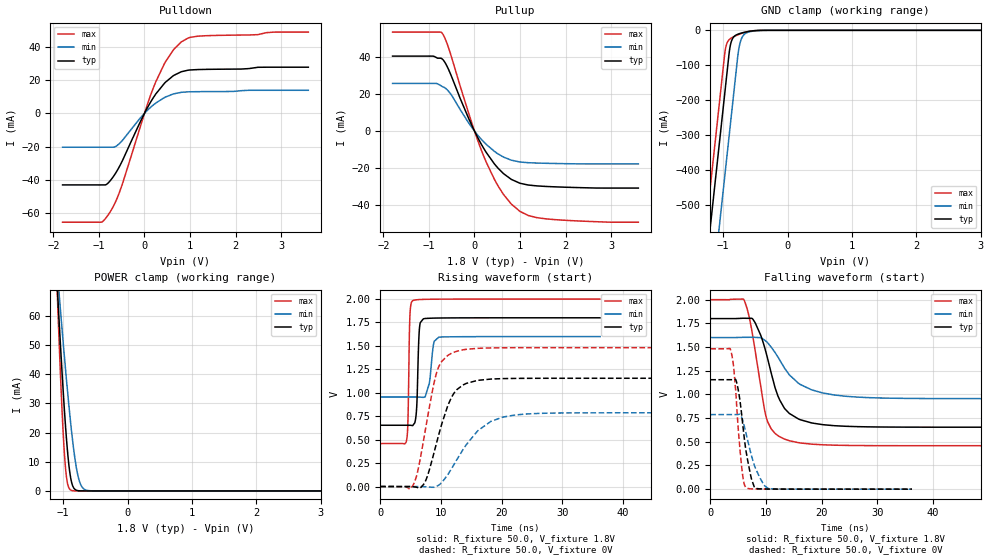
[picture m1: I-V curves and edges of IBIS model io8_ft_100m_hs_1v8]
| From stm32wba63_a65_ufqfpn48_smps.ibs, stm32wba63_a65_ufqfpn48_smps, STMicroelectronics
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[Model]   io8_ft_100m_hs_1v8
Model_type I/O
Polarity   Non-Inverting
Enable   Active-Low
| CAP_THRESHOLD on pad IOFT is "UDTCAPC" :
| Rising=30.0% of vddiom   Falling=70.0% of vddiom
| C_comp min and max val. don't necessarily correlate with the min and max pvt
| but are the smallest and greatest pad capacitance found.
| var   typ   min   max
C_comp   3.36302pF  3.33592pF  3.49657pF
|C_comp_pullup   1.98114pF  1.87541pF  2.12899pF
|C_comp_pulldown   1.38187pF  1.46051pF  1.36757pF
Vinl = 800.0mV
Vinh = 1.0V
Vmeas = 900.0mV   | Reference voltage for timing measurements
Cref  = 50.0pF   | Timing specification test load capacitance value
Rref  = 1.0MOhm   | Timing specification test load resistance value
Vref  = 990.0mV   | Timing specification test load voltage
[Model Spec]
| TIME_THRESHOLD on pin ZIV11 is "CMOS" :
| Rising=50.0% of vdd   Falling=50.0% of vdd
Vinl 702.50000mV 626.50000mV 788.50000mV
Vinh 1.09050V 959.50000mV 1.19650V
| variable   typ   min   max
[Temperature Range] 25.0 140.0 -40.0
| variable   typ   min   max
[Voltage Range] 1.8V 1.6V 2.0V
| variable   typ   min   max
[POWER Clamp Reference] 1.8V 1.6V 2.0V
| variable   typ   min   max
[GND Clamp Reference] 0V 0V 0V
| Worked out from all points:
|   slope of the pulldown table from 0 to 0.27 V, typ, clamps not added: 21.9 ohm
|   slope of the pullup table from 0 to 0.27 V, typ, clamps not added: 22.6 ohm
|   GND clamp passes 1 mA (typ) near -0.51 V on its own axis
|   POWER clamp passes 1 mA (typ) near -0.83 V on its own axis
|   rising waveform, R_fixture 50.0, V_fixture 1.8V: 20-80 % time 322ps typ, 669ps min, 236ps max; typ from 0.654 V to 1.8 V
|   falling waveform, R_fixture 50.0, V_fixture 1.8V: 20-80 % time 3.66ns typ, 5.63ns min, 2.61ns max; typ from 1.8 V to 0.654 V
|   rising waveform, R_fixture 50.0, V_fixture 0V: 20-80 % time 3.23ns typ, 5.37ns min, 2.57ns max; typ from 0 V to 1.16 V
|   falling waveform, R_fixture 50.0, V_fixture 0V: 20-80 % time 1.6ns typ, 2.36ns min, 1.18ns max; typ from 1.16 V to 0 V
[POWER Clamp]
-1.8V     396.4mA    285.5mA    556.9mA
-1.09V    69.42mA    75.17mA    67.14mA
-1.08V    65.31mA    72.42mA    61.23mA
-1.06V    57.23mA    66.98mA    49.77mA
-1.02V    41.75mA    56.3mA     28.91mA
-980mV    27.6mA     45.97mA    12.6mA
-940mV    15.59mA    36.11mA    3.485mA
-880mV    4.091mA    22.61mA    262.5uA
-820mV    594.6uA    11.56mA    16.39uA
-760mV    69.41uA    4.321mA    1.008uA
-630mV    611.2nA    197uA      2.486nA
3.6V      0A         0A         0A
[GND Clamp]
-1.8V     -1.583A    -1.82A     -1.468A
-1.43V    -953.9mA   -1.191A    -839.3mA
-1.24V    -630.9mA   -867.8mA   -516.3mA
-1.05V    -307.9mA   -544.8mA   -193.3mA
-980mV    -188.9mA   -425.8mA   -74.3mA
-950mV    -137.9mA   -374.8mA   -41.62mA
-890mV    -44.57mA   -272.8mA   -24.11mA
-800mV    -13.55mA   -119.8mA   -15.31mA
-760mV    -10.3mA    -56.67mA   -12.19mA
-720mV    -7.957mA   -26.08mA   -9.381mA
-540mV    -1.564mA   -2.435mA   -1.367mA
3.6V      1.281nA    268.1nA    531.2pA
| variable   typ   min   max
[Pullup Reference] 1.8V 1.6V 2.0V
| variable   typ   min   max
[Pulldown Reference] 0V 0V 0V
[Pullup]
-1.8V     40.39mA    25.65mA    53.35mA
-840mV    39.66mA    25.65mA    53.35mA
-700mV    38.63mA    23.9mA     52.42mA
-560mV    32.64mA    21.16mA    44.13mA
0V        593fA      222.5pA    3.42fA
260mV     -11.6mA    -7.233mA   -16.88mA
440mV     -17.8mA    -11.01mA   -26.16mA
630mV     -22.78mA   -13.92mA   -33.91mA
1V        -28.15mA   -16.69mA   -43.34mA
1.18V     -29.09mA   -17.06mA   -45.52mA
1.6V      -29.9mA    -17.4mA    -47.4mA
3.6V      -30.74mA   -17.73mA   -49.13mA
[Pulldown]
-1.8V     -42.97mA   -20.34mA   -65.35mA
-940mV    -42.97mA   -20.34mA   -65.31mA
-780mV    -41.3mA    -20.34mA   -60.25mA
-650mV    -36.58mA   -20.1mA    -53.93mA
-530mV    -30.86mA   -17.55mA   -45.89mA
0V        1.2fA      0A         0A
250mV     11.67mA    6.208mA    19.03mA
460mV     18.64mA    9.755mA    30.89mA
630mV     22.5mA     11.58mA    37.88mA
810mV     24.97mA    12.61mA    42.87mA
1.18V     26.28mA    13mA       46.33mA
3.6V      27.68mA    13.83mA    48.76mA
[Ramp]
dV/dt_r 693.1058mV/3.20161ns 472.13532mV/5.25013ns 888.78971mV/2.57223ns
dV/dt_f 687.69286mV/3.59377ns 386.84634mV/5.49556ns 924.86461mV/2.61184ns
R_load = 50.0
| Removed startup time: 0s 0s 0s  .
| Removed end time: 36.25ns.
[Rising Waveform]
R_fixture   = 50.0
V_fixture   = 1.8V
V_fixture_min = 1.6V
V_fixture_max = 2.0V
0s        653.8mV    955.3mV    458.6mV
4.3ns     653.9mV    955.3mV    481.6mV
4.55ns    653.9mV    955.3mV    668.4mV
4.9ns     653.6mV    955.3mV    1.837V
5.35ns    649.8mV    955.3mV    1.984V
6ns       837.6mV    955.2mV    1.992V
6.5ns     1.71V      954.8mV    1.995V
7.1ns     1.789V     950.8mV    1.996V
9.65ns    1.798V     1.593V     1.999V
36.25ns   1.8V       1.6V       2V
| Removed startup time: 0s 0s 0s  .
| Removed end time: 99.25ns.
[Falling Waveform]
R_fixture   = 50.0
V_fixture   = 1.8V
V_fixture_min = 1.6V
V_fixture_max = 2.0V
0s        1.8V       1.6V       2V
6.05ns    1.804V     1.603V     1.999V
6.95ns    1.803V     1.603V     1.828V
8ns       1.763V     1.602V     1.486V
10.2ns    1.403V     1.552V     730.8mV
12.15ns   985mV      1.396V     565.3mV
14.2ns    799.7mV    1.207V     511.3mV
18.25ns   698.5mV    1.048V     474.9mV
26.35ns   660mV      971.9mV    460.6mV
99.25ns   653.8mV    955.3mV    458.6mV
| Removed startup time: 0s 0s 0s  .
| Removed end time: 99.2ns.
[Rising Waveform]
R_fixture   = 50.0
V_fixture   = 0V
V_fixture_min = 0V
V_fixture_max = 0V
0s        4.66nV     149.2nV    3.397nV
5.35ns    -1.172mV   469.8nV    8.191mV
6.15ns    -10.56mV   27.35uV    156.5mV
7.35ns    44.58mV    -1.872mV   571.2mV
9.5ns     518mV      9.132mV    1.255V
11.75ns   952.7mV    190.1mV    1.422V
13.6ns    1.082V     389.2mV    1.458V
18.25ns   1.146V     695.3mV    1.479V
24.3ns    1.154V     774.8mV    1.481V
99.2ns    1.155V     786.9mV    1.481V
| Removed startup time: 0s 0s 0s  .
| Removed end time: 36.25ns.
[Falling Waveform]
R_fixture   = 50.0
V_fixture   = 0V
V_fixture_min = 0V
V_fixture_max = 0V
0s        1.155V     786.9mV    1.481V
3.7ns     1.155V     786.9mV    1.461V
4.25ns    1.155V     786.9mV    1.257V
4.9ns     1.086V     787mV      741mV
5.75ns    729.5mV    740.9mV    180.6mV
6.4ns     411.6mV    595.6mV    18.18mV
7.4ns     108.9mV    353.7mV    2.831mV
7.9ns     24.71mV    255.2mV    1.824mV
10.35ns   1.344mV    9.298mV    644.8uV
36.25ns   1.614uV    7.503uV    568.3nV
